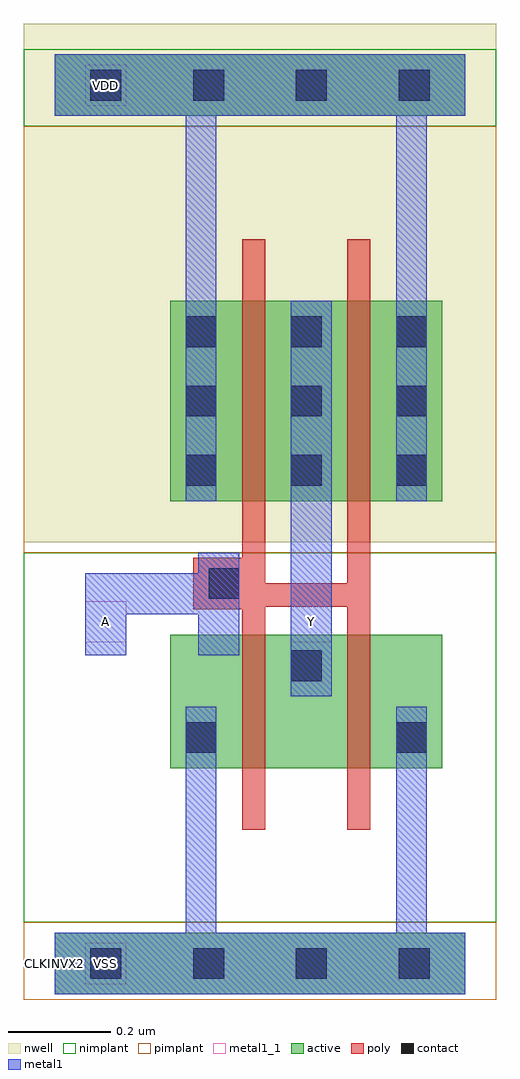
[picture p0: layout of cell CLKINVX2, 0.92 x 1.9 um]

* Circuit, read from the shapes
.subckt CLKINVX2 A VDD VSS Y
M1 Y A VSS VSS nfet w=0.26u l=0.045u m=2
M2 Y A VDD VDD pfet w=0.39u l=0.045u m=2
.ends

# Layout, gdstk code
import gdstk
lib = gdstk.Library(unit=1e-6, precision=5e-10)
def R(c, l, rs):  # rectangles x0, y0, x1, y1
    for r in rs: c.add(gdstk.rectangle(r[:2], r[2:], *l))
def A(c, l, x, y, w, h, nx, ny, dx, dy):  # array of equal rectangles
    R(c, l, [(x+i*dx, y+j*dy, x+i*dx+w, y+j*dy+h) for i in range(nx) for j in range(ny)])
def P(c, l, *ps):  # polygons
    for p in ps: c.add(gdstk.Polygon(p, *l))
active = (1, 0)
nwell = (2, 0)
poly = (3, 0)
nimplant = (4, 0)
pimplant = (5, 0)
contact = (6, 0)
metal1 = (7, 0)
metal1_1 = (7, 1)

clkinvx2 = lib.new_cell('CLKINVX2')
R(clkinvx2, active, [(0,-0.06,0.8,0.06), (0.225,0.38,0.755,0.64), (0.225,0.9,0.755,1.29), (0,1.65,0.8,1.77)])
R(clkinvx2, nwell, [(-0.06,0.82,0.86,1.83)])
P(clkinvx2, poly, [(0.365,1.41),(0.41,1.41),(0.41,0.74),(0.57,0.74),(0.57,1.41),(0.615,1.41),(0.615,0.26),(0.57,0.26),(0.57,0.695),(0.41,0.695),(0.41,0.26),(0.365,0.26),(0.365,0.69),(0.27,0.69),(0.27,0.79),(0.365,0.79)])
R(clkinvx2, nimplant, [(-0.06,0.08,0.86,0.8), (-0.06,1.63,0.86,1.78)])
R(clkinvx2, pimplant, [(-0.06,-0.07,0.86,0.08), (-0.06,0.8,0.86,1.63)])
A(clkinvx2, contact, 0.07, -0.03, 0.06, 0.06, 4, 2, 0.2, 1.71)
A(clkinvx2, contact, 0.255, 0.93, 0.06, 0.06, 3, 3, 0.205, 0.135)
R(clkinvx2, contact, [(0.255,0.41,0.315,0.47), (0.665,0.41,0.725,0.47), (0.46,0.55,0.52,0.61), (0.3,0.71,0.36,0.77)])
R(clkinvx2, metal1, [(0.46,0.52,0.54,1.29)])
P(clkinvx2, metal1, [(0.255,0.5),(0.315,0.5),(0.315,0.06),(0.665,0.06),(0.665,0.5),(0.725,0.5),(0.725,0.06),(0.8,0.06),(0.8,-0.06),(0,-0.06),(0,0.06),(0.255,0.06)],
  [(0,1.77),(0.8,1.77),(0.8,1.65),(0.725,1.65),(0.725,0.9),(0.665,0.9),(0.665,1.65),(0.315,1.65),(0.315,0.9),(0.255,0.9),(0.255,1.65),(0,1.65)],
  [(0.28,0.8),(0.36,0.8),(0.36,0.6),(0.28,0.6),(0.28,0.68),(0.14,0.68),(0.14,0.6),(0.06,0.6),(0.06,0.76),(0.28,0.76)])
R(clkinvx2, metal1_1, [(0.06,-0.04,0.14,0.04), (0.06,0.625,0.14,0.705), (0.46,0.625,0.54,0.705), (0.06,1.67,0.14,1.75)])
clkinvx2.add(gdstk.Label('Y', (0.5,0.665), layer=7, texttype=1))
clkinvx2.add(gdstk.Label('A', (0.1,0.665), layer=7, texttype=1))
clkinvx2.add(gdstk.Label('VDD', (0.1,1.71), layer=7, texttype=1))
clkinvx2.add(gdstk.Label('VSS', (0.1,0), layer=7, texttype=1))
clkinvx2.add(gdstk.Label('CLKINVX2', (0,0), layer=63, texttype=0))

lib.write_gds('CLKINVX2.gds')
